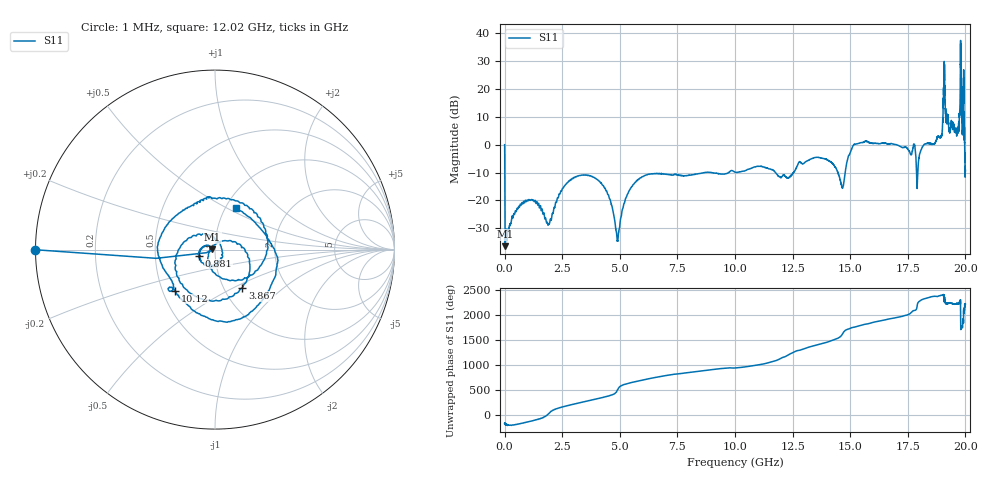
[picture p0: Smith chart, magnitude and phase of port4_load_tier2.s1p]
! Created with skrf 1.8.0 (http://scikit-rf.org).
# GHz S RI R 50.0
!freq ReS11 ImS11
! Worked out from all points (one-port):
!   10001 points, 1 MHz to 20 GHz, reference 50 ohm
!   lowest |S11| = -36.5 dB at 29 MHz (marker M1), VSWR 1.03, Z = 48.5 + j0.147 ohm
!   |S11| at or under -10 dB: 9.157 MHz to 8.683 GHz (8.674 GHz wide, 200 % of centre); 8.983 GHz to 9.726 GHz (742.8 MHz wide, 7.94 % of centre); 11.76 GHz to 12.54 GHz (782.9 MHz wide, 6.45 % of centre) (the widest 3 of 8)
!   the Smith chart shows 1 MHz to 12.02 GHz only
!   S11 on the Smith chart (normalised r, x): 1 MHz: -0.00, -0.00; 881 MHz: 0.84, -0.06; 3.867 GHz: 1.22, -0.56; 10.12 GHz: 0.58, -0.30; 12.02 GHz: 1.12, +0.56
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0.001  -1.001 -0.000747
0.0289986  -0.015 0.00151
0.880956  -0.0876 -0.0332
2.500875  -0.1457 0.0651
3.866807  0.1515 -0.2125
5.00075  -0.032 -0.0153
7.500625  -0.0517 0.2835
10.0005  -0.2418 -0.2097
10.11849  -0.2233 -0.229
12.0244  0.1196 0.234
12.50038  -0.2913 0.0622
15.00025  0.3323 -0.6274
15.61822  1.083 0.3395
16.34218  -0.0296 1.059
17.50013  -0.7171 -0.4249
17.80411  0.4454 -0.8651
18.0941  -0.7277 0.4193
18.89206  -0.7942 -1.119
18.98005  -0.6589 -1.352
19.02605  -1.311 -2.939
19.18204  0.8393 2.778
19.22404  0.5273 2.949
19.60602  0.5176 1.639
19.68802  0.502 1.607
19.73601  -0.0503 3.664
19.89601  -1.094 1.816
19.916  2.807 4.443
20  0.1314 0.3207
